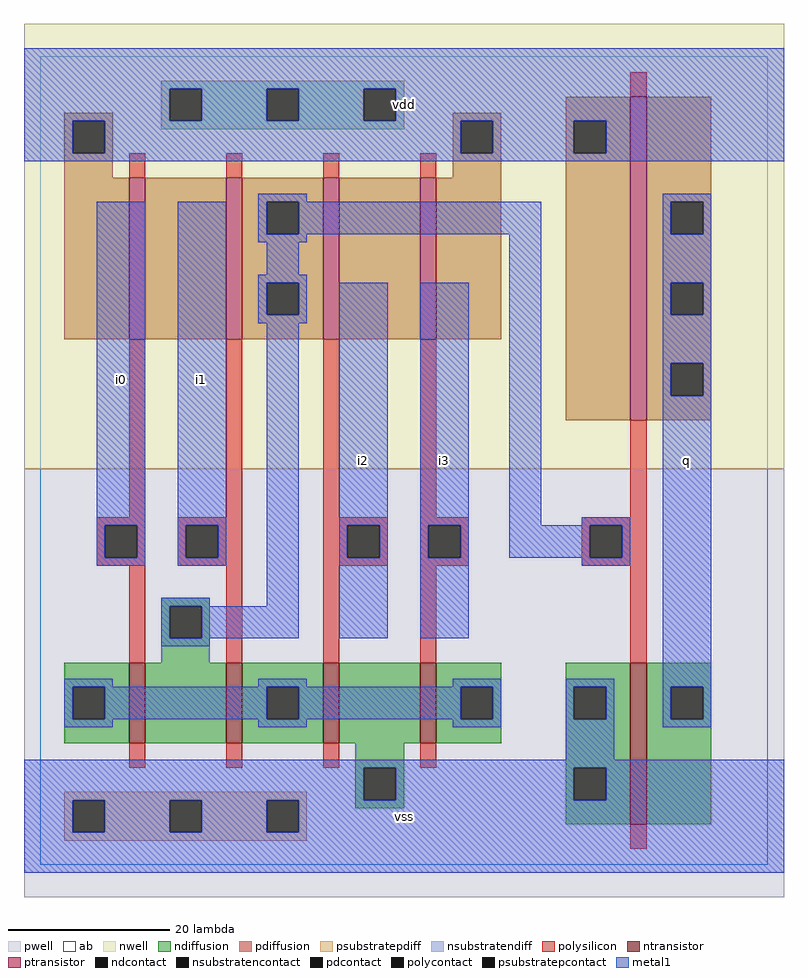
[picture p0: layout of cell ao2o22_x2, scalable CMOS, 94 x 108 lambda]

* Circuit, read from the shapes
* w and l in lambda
.subckt ao2o22_x2 i0 i1 i2 i3 q vdd vss
M1 n1 i0 n2 vss nfet w=10 l=2
M2 n2 i1 n1 vss nfet w=10 l=2
M3 vss i2 n2 vss nfet w=10 l=2
M4 n2 i3 vss vss nfet w=10 l=2
M5 q n1 vss vss nfet w=20 l=2
M6 n3 i0 vdd vdd pfet w=20 l=2
M7 n1 i1 n3 vdd pfet w=20 l=2
M8 n4 i2 n1 vdd pfet w=20 l=2
M9 vdd i3 n4 vdd pfet w=20 l=2
M10 q n1 vdd vdd pfet w=40 l=2
.ends

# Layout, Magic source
magic
tech scmos
<< ab >>
rect 0 0 90 100
<< pwell >>
rect -2 -4 92 49
<< nwell >>
rect -2 49 92 104
<< polysilicon >>
rect 73 95 75 98
rect 11 85 13 88
rect 23 85 25 88
rect 35 85 37 88
rect 47 85 49 88
rect 11 43 13 65
rect 23 43 25 65
rect 7 42 13 43
rect 7 38 8 42
rect 12 38 13 42
rect 7 37 13 38
rect 17 42 25 43
rect 17 38 18 42
rect 22 38 25 42
rect 17 37 25 38
rect 11 25 13 37
rect 23 25 25 37
rect 35 43 37 65
rect 47 43 49 65
rect 73 43 75 55
rect 35 42 43 43
rect 35 38 38 42
rect 42 38 43 42
rect 35 37 43 38
rect 47 42 53 43
rect 47 38 48 42
rect 52 38 53 42
rect 47 37 53 38
rect 67 42 75 43
rect 67 38 68 42
rect 72 38 75 42
rect 67 37 75 38
rect 35 25 37 37
rect 47 25 49 37
rect 73 25 75 37
rect 11 12 13 15
rect 23 12 25 15
rect 35 12 37 15
rect 47 12 49 15
rect 73 2 75 5
<< ndiffusion >>
rect 15 32 21 33
rect 15 28 16 32
rect 20 28 21 32
rect 15 25 21 28
rect 3 22 11 25
rect 3 18 4 22
rect 8 18 11 22
rect 3 15 11 18
rect 13 15 23 25
rect 25 22 35 25
rect 25 18 28 22
rect 32 18 35 22
rect 25 15 35 18
rect 37 15 47 25
rect 49 22 57 25
rect 49 18 52 22
rect 56 18 57 22
rect 49 15 57 18
rect 65 22 73 25
rect 65 18 66 22
rect 70 18 73 22
rect 39 12 45 15
rect 65 12 73 18
rect 39 8 40 12
rect 44 8 45 12
rect 39 7 45 8
rect 65 8 66 12
rect 70 8 73 12
rect 65 5 73 8
rect 75 22 83 25
rect 75 18 78 22
rect 82 18 83 22
rect 75 5 83 18
<< pdiffusion >>
rect 3 92 9 93
rect 3 88 4 92
rect 8 88 9 92
rect 51 92 57 93
rect 51 88 52 92
rect 56 88 57 92
rect 3 85 9 88
rect 51 85 57 88
rect 3 65 11 85
rect 13 65 23 85
rect 25 82 35 85
rect 25 78 28 82
rect 32 78 35 82
rect 25 72 35 78
rect 25 68 28 72
rect 32 68 35 72
rect 25 65 35 68
rect 37 65 47 85
rect 49 65 57 85
rect 65 92 73 95
rect 65 88 66 92
rect 70 88 73 92
rect 65 55 73 88
rect 75 82 83 95
rect 75 78 78 82
rect 82 78 83 82
rect 75 72 83 78
rect 75 68 78 72
rect 82 68 83 72
rect 75 62 83 68
rect 75 58 78 62
rect 82 58 83 62
rect 75 55 83 58
<< metal1 >>
rect -2 96 92 101
rect -2 92 16 96
rect 20 92 28 96
rect 32 92 40 96
rect 44 92 92 96
rect -2 88 4 92
rect 8 88 52 92
rect 56 88 66 92
rect 70 88 92 92
rect -2 87 92 88
rect 27 82 33 83
rect 77 82 83 83
rect 7 42 13 82
rect 7 38 8 42
rect 12 38 13 42
rect 7 37 13 38
rect 17 42 23 82
rect 27 78 28 82
rect 32 78 62 82
rect 27 77 33 78
rect 28 73 32 77
rect 27 72 33 73
rect 27 68 28 72
rect 32 68 33 72
rect 27 67 33 68
rect 17 38 18 42
rect 22 38 23 42
rect 17 37 23 38
rect 15 32 21 33
rect 28 32 32 67
rect 15 28 16 32
rect 20 28 32 32
rect 37 42 43 72
rect 37 38 38 42
rect 42 38 43 42
rect 37 28 43 38
rect 47 42 53 72
rect 47 38 48 42
rect 52 38 53 42
rect 58 42 62 78
rect 77 78 78 82
rect 82 78 83 82
rect 77 72 83 78
rect 77 68 78 72
rect 82 68 83 72
rect 77 62 83 68
rect 77 58 78 62
rect 82 58 83 62
rect 67 42 73 43
rect 58 38 68 42
rect 72 38 73 42
rect 47 28 53 38
rect 67 37 73 38
rect 15 27 21 28
rect 3 22 9 23
rect 27 22 33 23
rect 51 22 57 23
rect 3 18 4 22
rect 8 18 28 22
rect 32 18 52 22
rect 56 18 57 22
rect 3 17 9 18
rect 27 17 33 18
rect 51 17 57 18
rect 65 22 71 23
rect 65 18 66 22
rect 70 18 71 22
rect 65 13 71 18
rect 77 22 83 58
rect 77 18 78 22
rect 82 18 83 22
rect 77 17 83 18
rect -2 12 92 13
rect -2 8 40 12
rect 44 8 66 12
rect 70 8 92 12
rect -2 4 4 8
rect 8 4 16 8
rect 20 4 28 8
rect 32 4 92 8
rect -2 -1 92 4
<< ntransistor >>
rect 11 15 13 25
rect 23 15 25 25
rect 35 15 37 25
rect 47 15 49 25
rect 73 5 75 25
<< ptransistor >>
rect 11 65 13 85
rect 23 65 25 85
rect 35 65 37 85
rect 47 65 49 85
rect 73 55 75 95
<< polycontact >>
rect 8 38 12 42
rect 18 38 22 42
rect 38 38 42 42
rect 48 38 52 42
rect 68 38 72 42
<< ndcontact >>
rect 16 28 20 32
rect 4 18 8 22
rect 28 18 32 22
rect 52 18 56 22
rect 66 18 70 22
rect 40 8 44 12
rect 66 8 70 12
rect 78 18 82 22
<< pdcontact >>
rect 4 88 8 92
rect 52 88 56 92
rect 28 78 32 82
rect 28 68 32 72
rect 66 88 70 92
rect 78 78 82 82
rect 78 68 82 72
rect 78 58 82 62
<< psubstratepcontact >>
rect 4 4 8 8
rect 16 4 20 8
rect 28 4 32 8
<< nsubstratencontact >>
rect 16 92 20 96
rect 28 92 32 96
rect 40 92 44 96
<< psubstratepdiff >>
rect 3 8 33 9
rect 3 4 4 8
rect 8 4 16 8
rect 20 4 28 8
rect 32 4 33 8
rect 3 3 33 4
<< nsubstratendiff >>
rect 15 96 45 97
rect 15 92 16 96
rect 20 92 28 96
rect 32 92 40 96
rect 44 92 45 96
rect 15 91 45 92
<< labels >>
rlabel metal1 10 60 10 60 6 i0
rlabel metal1 10 60 10 60 6 i0
rlabel metal1 40 50 40 50 6 i2
rlabel metal1 40 50 40 50 6 i2
rlabel metal1 20 60 20 60 6 i1
rlabel metal1 20 60 20 60 6 i1
rlabel metal1 45 6 45 6 6 vss
rlabel metal1 45 6 45 6 6 vss
rlabel metal1 50 50 50 50 6 i3
rlabel metal1 50 50 50 50 6 i3
rlabel metal1 45 94 45 94 6 vdd
rlabel metal1 45 94 45 94 6 vdd
rlabel metal1 80 50 80 50 6 q
rlabel metal1 80 50 80 50 6 q
<< end >>
